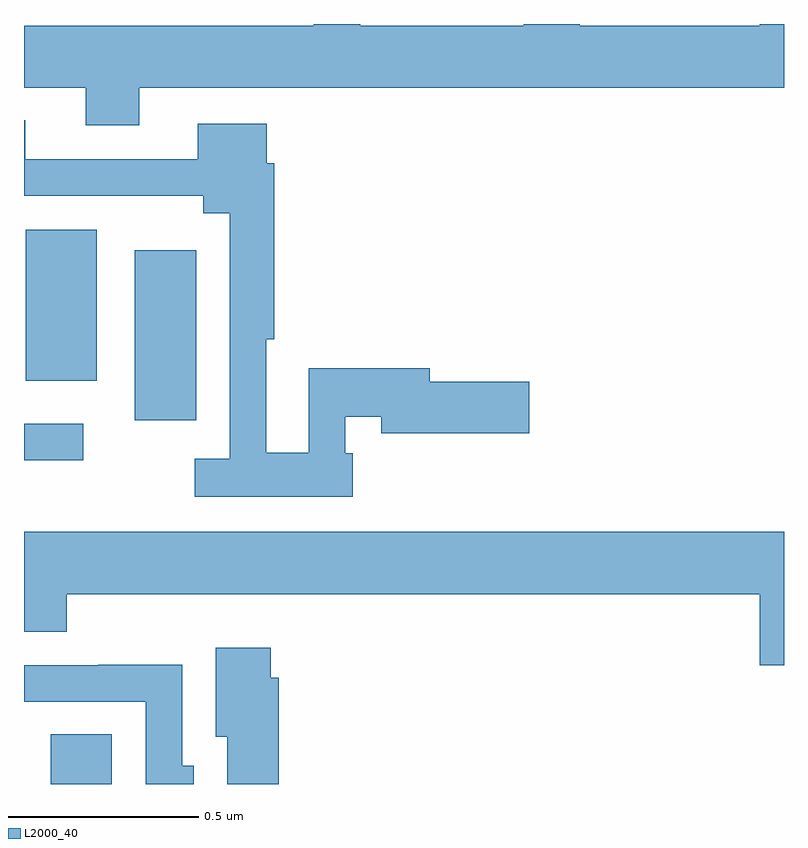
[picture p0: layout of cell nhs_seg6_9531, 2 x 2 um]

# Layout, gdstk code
import gdstk
lib = gdstk.Library(unit=1e-6, precision=1e-09)
def R(c, l, rs):  # rectangles x0, y0, x1, y1
    for r in rs: c.add(gdstk.rectangle(r[:2], r[2:], *l))
def P(c, l, *ps):  # polygons
    for p in ps: c.add(gdstk.Polygon(p, *l))
L2000_40 = (2000, 40)

nhs_seg6_9531 = lib.new_cell('nhs_seg6_9531')
R(nhs_seg6_9531, L2000_40, [(235.07,949.5,235.231,949.631), (235,950.352,235.156,950.448), (235.292,950.457,235.453,950.905), (235.004,950.561,235.192,950.959)])
P(nhs_seg6_9531, L2000_40, [(235.303,951.332),(237,951.332),(237,951.5),(236.936,951.5),(236.936,951.496),(236.463,951.496),(236.463,951.5),(236.315,951.5),(236.315,951.496),(235.885,951.496),(235.885,951.5),(235.763,951.5),(235.763,951.496),(235,951.496),(235,951.332),(235.163,951.332),(235.163,951.233),(235.303,951.233)],
  [(235.865,950.37),(235.845,950.37),(235.845,950.466),(235.94,950.466),(235.94,950.423),(236.329,950.423),(236.329,950.558),(236.068,950.558),(236.068,950.594),(235.749,950.594),(235.749,950.372),(235.638,950.372),(235.638,950.671),(235.658,950.671),(235.658,951.134),(235.639,951.134),(235.639,951.238),(235.457,951.238),(235.457,951.144),(235.003,951.144),(235.003,951.247),(235,951.247),(235,951.048),(235.472,951.048),(235.472,951.002),(235.542,951.002),(235.542,950.356),(235.449,950.356),(235.449,950.256),(235.865,950.256)],
  [(237,950.164),(235,950.164),(235,949.901),(235.112,949.901),(235.112,950),(236.936,950),(236.936,949.812),(237,949.812)],
  [(235.67,949.779),(235.649,949.779),(235.649,949.858),(235.505,949.858),(235.505,949.625),(235.535,949.625),(235.535,949.5),(235.67,949.5)],
  [(235.447,949.548),(235.416,949.548),(235.416,949.814),(235.195,949.814),(235.195,949.812),(235,949.812),(235,949.716),(235.32,949.716),(235.32,949.5),(235.447,949.5)])

lib.write_gds('nhs_seg6_9531.gds')
